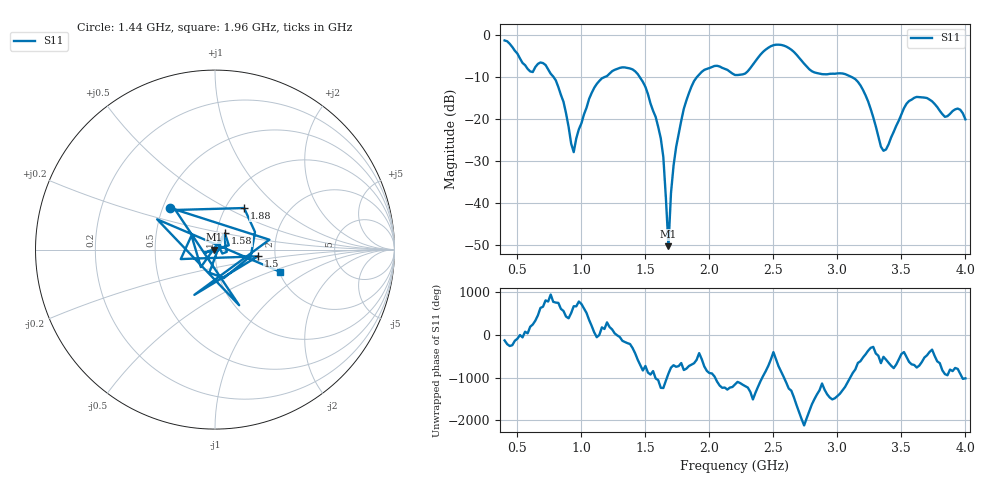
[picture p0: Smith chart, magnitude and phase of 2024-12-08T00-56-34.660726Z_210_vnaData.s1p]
!Created with skrf (http://scikit-rf.org).
# Hz S RI R 50.0
!freq ReS11 ImS11
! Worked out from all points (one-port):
!   181 points, 400 MHz to 4 GHz, reference 50 ohm
!   lowest |S11| = -50.2 dB at 1.68 GHz (marker M1), VSWR 1.01, Z = 49.7 + j0.0407 ohm
!   |S11| at or under -10 dB: 782.2 MHz to 1.182 GHz (399.8 MHz wide, 40.7 % of centre); 1.455 GHz to 1.903 GHz (448 MHz wide, 26.7 % of centre); 3.11 GHz to end of sweep
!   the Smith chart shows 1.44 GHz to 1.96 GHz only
!   S11 on the Smith chart (normalised r, x): 1.44 GHz: 0.54, +0.29; 1.5 GHz: 1.62, -0.13; 1.58 GHz: 1.10, +0.20; 1.88 GHz: 1.22, +0.61; 1.96 GHz: 2.03, -0.59
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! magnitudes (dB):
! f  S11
! 400 MHz  -1.3
! 600 MHz  -8.7
! 720 MHz  -7.1
! 860 MHz  -15.9
! 940 MHz  -27.9
! 1.1 GHz  -12.6
! 1.3 GHz  -7.8
! 1.44 GHz  -9.3
! 1.5 GHz  -12.3
! 1.58 GHz  -19.5
! 1.64 GHz  -29.0
! 1.68 GHz  -50.2
! 1.7 GHz  -37.6
! 1.76 GHz  -23.5
! 1.88 GHz  -11.0
! 1.96 GHz  -8.3
! 2.2 GHz  -9.5
! 2.48 GHz  -2.7
! 2.66 GHz  -4.0
! 2.82 GHz  -8.9
! 3.1 GHz  -9.8
! 3.22 GHz  -14.4
! 3.36 GHz  -27.5
! 3.56 GHz  -15.7
! 3.7 GHz  -15.0
! 3.84 GHz  -19.5
! 3.94 GHz  -17.5
! 4 GHz  -20.1
